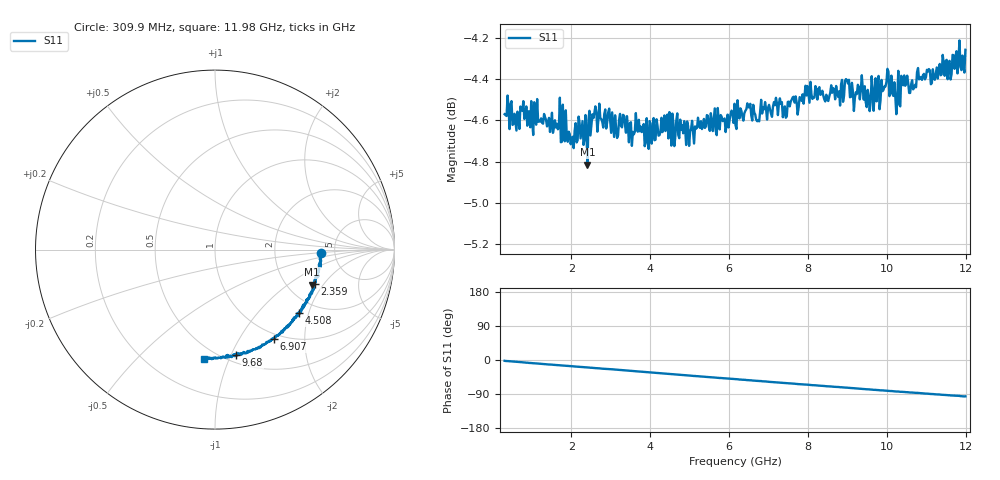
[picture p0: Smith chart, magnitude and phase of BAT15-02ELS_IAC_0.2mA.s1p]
! Infineon Technologies  Discrete & RF Semiconductors
! BAT15-02ELS
! IAC = 0.2 mA
! One-Port S-Parameters
# Hz  S  MA  R  50
!f  S11
!Hz  Mag  Ang
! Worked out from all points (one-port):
!   468 points, 309.9 MHz to 11.98 GHz, reference 50 ohm
!   lowest |S11| = -4.8 dB at 2.409 GHz (marker M1), VSWR 3.70, Z = 135 - j78.1 ohm
!   |S11| at or under -10 dB: nowhere
!   S11 on the Smith chart (normalised r, x): 309.9 MHz: 3.87, -0.26; 2.359 GHz: 2.80, -1.66; 4.508 GHz: 1.61, -1.75; 6.907 GHz: 0.92, -1.42; 9.68 GHz: 0.57, -1.04; 11.98 GHz: 0.42, -0.81
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3.0985e8  0.5909 -2.1
1.10945e9  0.5875 -9.2
1.659175e9  0.5859 -13.6
1.784112e9  0.5941 -14.6
2.233888e9  0.583 -18.2
2.358825e9  0.5907 -19.2
2.4088e9  0.5745 -19.8
2.583712e9  0.5914 -21.2
3.233388e9  0.591 -26.2
3.683162e9  0.5852 -30.2
3.90805e9  0.5896 -32.0
4.50775e9  0.5891 -37.0
4.70765e9  0.5841 -38.8
6.156925e9  0.5873 -50.4
6.90655e9  0.5949 -56.7
7.4063e9  0.5935 -60.7
7.6062e9  0.5965 -62.2
8.230888e9  0.5958 -67.5
8.980512e9  0.6023 -73.0
9.080462e9  0.5967 -74.0
9.680162e9  0.5981 -78.7
9.980012e9  0.6017 -81.0
1.027986e10  0.6054 -83.2
1.04048e10  0.6006 -84.3
1.052974e10  0.6014 -85.3
1.145428e10  0.6038 -92.3
1.157921e10  0.6088 -93.0
1.197901e10  0.6126 -95.9
